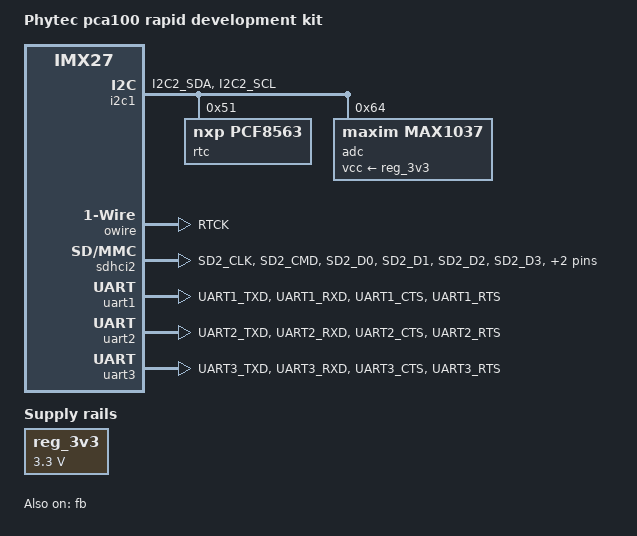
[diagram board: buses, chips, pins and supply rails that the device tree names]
// SPDX-License-Identifier: GPL-2.0-or-later
/*
 * Copyright 2012 Markus Pargmann, Pengutronix
 */

#include "imx27-phytec-phycard-s-som.dtsi"

/ {
	model = "Phytec pca100 rapid development kit";
	compatible = "phytec,imx27-pca100-rdk", "phytec,imx27-pca100", "fsl,imx27";

	chosen {
		stdout-path = &uart1;
	};

	display: display {
		model = "Primeview-PD050VL1";
		bits-per-pixel = <16>;  /* non-standard but required */
		fsl,pcr = <0xf0c88080>;	/* non-standard but required */
		display-timings {
			native-mode = <&timing0>;
			timing0: 640x480 {
				hactive = <640>;
				vactive = <480>;
				hback-porch = <112>;
				hfront-porch = <36>;
				hsync-len = <32>;
				vback-porch = <33>;
				vfront-porch = <33>;
				vsync-len = <2>;
				clock-frequency = <25000000>;
			};
		};
	};

	regulators {
		compatible = "simple-bus";
		#address-cells = <1>;
		#size-cells = <0>;

		reg_3v3: regulator@0 {
			compatible = "regulator-fixed";
			reg = <0>;
			regulator-name = "3V3";
			regulator-min-microvolt = <3300000>;
			regulator-max-microvolt = <3300000>;
			regulator-always-on;
		};
	};
};

&fb {
	display = <&display>;
	status = "okay";
};

&i2c1 {
	pinctrl-names = "default";
	pinctrl-0 = <&pinctrl_i2c1>;
	status = "okay";

	rtc@51 {
		compatible = "nxp,pcf8563";
		reg = <0x51>;
	};

	adc@64 {
		compatible = "maxim,max1037";
		vcc-supply = <&reg_3v3>;
		reg = <0x64>;
	};
};

&iomuxc {
	imx27-phycard-s-rdk {
		pinctrl_i2c1: i2c1grp {
			fsl,pins = <
				MX27_PAD_I2C2_SDA__I2C2_SDA 0x0
				MX27_PAD_I2C2_SCL__I2C2_SCL 0x0
			>;
		};

		pinctrl_owire1: owire1grp {
			fsl,pins = <
				MX27_PAD_RTCK__OWIRE 0x0
			>;
		};

		pinctrl_sdhc2: sdhc2grp {
			fsl,pins = <
				MX27_PAD_SD2_CLK__SD2_CLK 0x0
				MX27_PAD_SD2_CMD__SD2_CMD 0x0
				MX27_PAD_SD2_D0__SD2_D0 0x0
				MX27_PAD_SD2_D1__SD2_D1 0x0
				MX27_PAD_SD2_D2__SD2_D2 0x0
				MX27_PAD_SD2_D3__SD2_D3 0x0
				MX27_PAD_SSI3_RXDAT__GPIO3_29 0x0 /* CD */
			>;
		};

		pinctrl_uart1: uart1grp {
			fsl,pins = <
				MX27_PAD_UART1_TXD__UART1_TXD 0x0
				MX27_PAD_UART1_RXD__UART1_RXD 0x0
				MX27_PAD_UART1_CTS__UART1_CTS 0x0
				MX27_PAD_UART1_RTS__UART1_RTS 0x0
			>;
		};

		pinctrl_uart2: uart2grp {
			fsl,pins = <
				MX27_PAD_UART2_TXD__UART2_TXD 0x0
				MX27_PAD_UART2_RXD__UART2_RXD 0x0
				MX27_PAD_UART2_CTS__UART2_CTS 0x0
				MX27_PAD_UART2_RTS__UART2_RTS 0x0
			>;
		};

		pinctrl_uart3: uart3grp {
			fsl,pins = <
				MX27_PAD_UART3_TXD__UART3_TXD 0x0
				MX27_PAD_UART3_RXD__UART3_RXD 0x0
				MX27_PAD_UART3_CTS__UART3_CTS 0x0
				MX27_PAD_UART3_RTS__UART3_RTS 0x0
			>;
		};
	};
};

&owire {
	pinctrl-names = "default";
	pinctrl-0 = <&pinctrl_owire1>;
	status = "okay";
};

&sdhci2 {
	pinctrl-names = "default";
	pinctrl-0 = <&pinctrl_sdhc2>;
	cd-gpios = <&gpio3 29 GPIO_ACTIVE_HIGH>;
	status = "okay";
};

&uart1 {
	uart-has-rtscts;
	pinctrl-names = "default";
	pinctrl-0 = <&pinctrl_uart1>;
	status = "okay";
};

&uart2 {
	uart-has-rtscts;
	pinctrl-names = "default";
	pinctrl-0 = <&pinctrl_uart2>;
	status = "okay";
};

&uart3 {
	uart-has-rtscts;
	pinctrl-names = "default";
	pinctrl-0 = <&pinctrl_uart3>;
	status = "okay";
};
